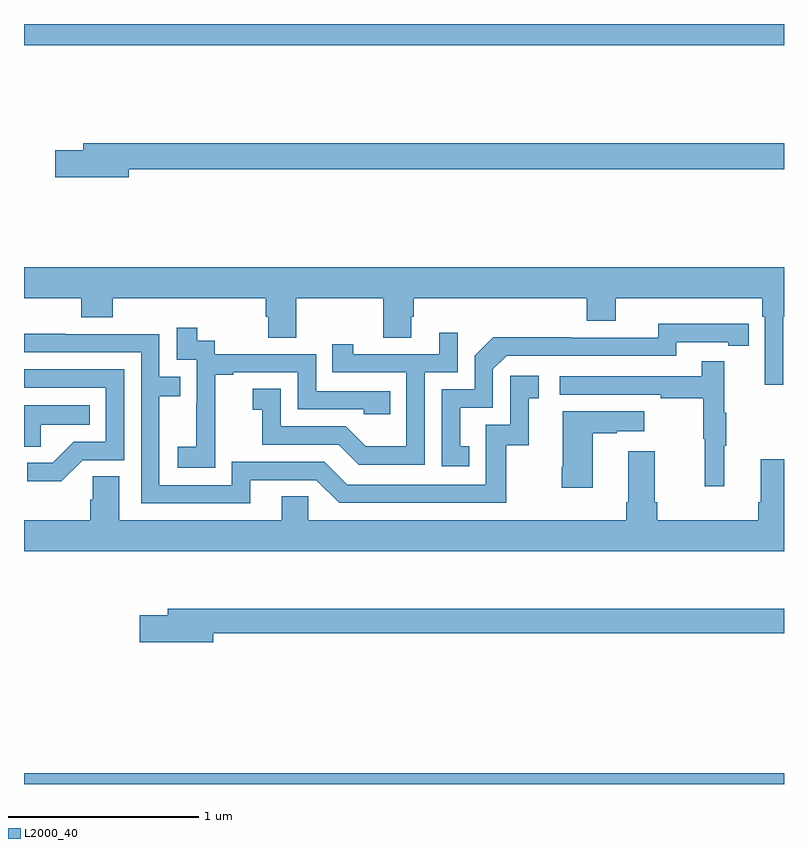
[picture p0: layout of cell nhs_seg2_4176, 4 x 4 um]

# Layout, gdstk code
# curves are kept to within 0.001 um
import gdstk
lib = gdstk.Library(unit=1e-6, precision=1e-09)
def R(c, l, rs):  # rectangles x0, y0, x1, y1
    for r in rs: c.add(gdstk.rectangle(r[:2], r[2:], *l))
def P(c, l, *ps):  # polygons
    for p in ps: c.add(gdstk.Polygon(p, *l))
L2000_40 = (2000, 40)

nhs_seg2_4176 = lib.new_cell('nhs_seg2_4176')
R(nhs_seg2_4176, L2000_40, [(337,591.8,341,591.856), (337,595.688,341,595.8)])
P(nhs_seg2_4176, L2000_40, [(337.552,595.036),(341,595.036),(341,595.172),(337.313,595.172),(337.313,595.136),(337.164,595.136),(337.164,594.994),(337.552,594.994)],
  [(340.996,594.26),(341,594.26),(341,594.52),(337,594.52),(337,594.356),(337.301,594.356),(337.301,594.257),(337.466,594.257),(337.466,594.356),(338.273,594.356),(338.273,594.258),(338.285,594.258),(338.285,594.148),(338.433,594.148),(338.433,594.356),(338.89,594.356),(338.89,594.148),(339.037,594.148),(339.037,594.258),(339.05,594.258),(339.05,594.356),(339.962,594.356),(339.962,594.239),(340.114,594.239),(340.114,594.356),(340.886,594.356),(340.886,594.26),(340.899,594.26),(340.899,593.901),(340.996,593.901)],
  [(339.344,593.577),(339.295,593.577),(339.295,593.781),(339.468,593.781),(339.468,593.982),(339.54,594.054),(340.434,594.054),(340.434,594.126),(340.706,594.126),(340.706,594.106),(340.814,594.106),(340.814,594.222),(340.338,594.223),(340.338,594.15),(339.878,594.15),(339.878,594.152),(339.47,594.152),(339.372,594.054),(339.372,593.877),(339.198,593.877),(339.198,593.472),(339.344,593.472)],
  [(338.007,593.671),(338.006,593.671),(338.006,593.955),(338.101,593.955),(338.101,593.967),(338.442,593.967),(338.442,593.772),(338.787,593.772),(338.787,593.745),(338.927,593.745),(338.927,593.868),(338.538,593.868),(338.538,594.063),(338.004,594.063),(338.004,594.132),(337.912,594.132),(337.912,594.202),(337.803,594.202),(337.803,594.033),(337.908,594.033),(337.908,593.804),(337.907,593.804),(337.907,593.575),(337.809,593.575),(337.809,593.465),(338.007,593.465)],
  [(339.108,593.967),(339.282,593.967),(339.282,594.175),(339.185,594.175),(339.185,594.063),(338.734,594.063),(338.734,594.115),(338.623,594.115),(338.623,593.967),(339.012,593.967),(339.012,593.578),(338.798,593.578),(338.694,593.682),(338.352,593.682),(338.352,593.881),(338.205,593.881),(338.205,593.771),(338.254,593.771),(338.254,593.586),(338.657,593.586),(338.762,593.481),(339.108,593.481)],
  [(338.191,593.4),(338.538,593.4),(338.658,593.28),(339.538,593.28),(339.538,593.583),(339.656,593.583),(339.656,593.829),(339.709,593.829),(339.709,593.95),(339.558,593.95),(339.558,593.691),(339.429,593.691),(339.429,593.376),(338.7,593.376),(338.58,593.496),(338.094,593.496),(338.094,593.373),(337.713,593.373),(337.713,593.842),(337.823,593.842),(337.823,593.943),(337.713,593.943),(337.713,594.168),(337.217,594.168),(337.217,594.17),(337,594.17),(337,594.072),(337.617,594.072),(337.617,593.277),(338.191,593.277)],
  [(340.685,593.579),(340.696,593.579),(340.696,593.753),(340.685,593.753),(340.685,594.025),(340.567,594.025),(340.567,593.946),(339.819,593.946),(339.819,593.85),(340.351,593.85),(340.351,593.83),(340.575,593.83),(340.575,593.616),(340.582,593.616),(340.582,593.367),(340.685,593.367)],
  [(337.308,593.505),(337.527,593.505),(337.527,593.982),(337,593.982),(337,593.886),(337.431,593.886),(337.431,593.601),(337.262,593.601),(337.151,593.49),(337.017,593.49),(337.017,593.393),(337.195,593.393)],
  [(337.089,593.69),(337.346,593.69),(337.346,593.794),(337,593.794),(337,593.575),(337.089,593.575)],
  [(339.994,593.647),(340.121,593.647),(340.121,593.657),(340.264,593.657),(340.264,593.761),(339.836,593.761),(339.836,593.47),(339.829,593.47),(339.829,593.358),(339.994,593.358)],
  [(341,593.509),(340.877,593.509),(340.877,593.284),(340.865,593.284),(340.865,593.188),(340.334,593.188),(340.334,593.284),(340.321,593.284),(340.321,593.551),(340.181,593.551),(340.181,593.284),(340.169,593.284),(340.169,593.188),(338.496,593.188),(338.496,593.315),(338.357,593.315),(338.357,593.188),(337.501,593.188),(337.501,593.42),(337.362,593.42),(337.362,593.297),(337.349,593.297),(337.349,593.188),(337,593.188),(337,593.024),(341,593.024)],
  [(337.996,592.594),(341,592.594),(341,592.723),(337.757,592.723),(337.757,592.689),(337.608,592.689),(337.608,592.547),(337.996,592.547)])

lib.write_gds('nhs_seg2_4176.gds')
